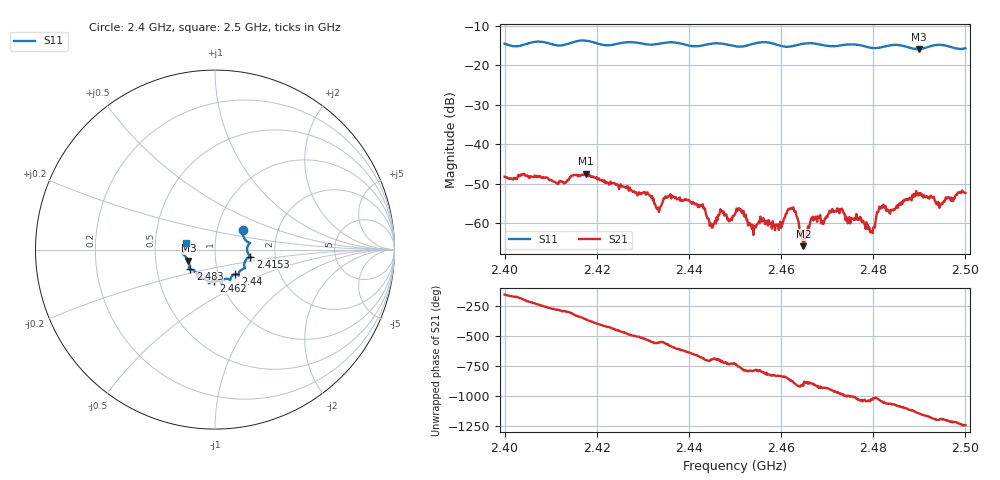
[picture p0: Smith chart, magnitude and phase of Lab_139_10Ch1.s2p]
# Hz S RI R 50
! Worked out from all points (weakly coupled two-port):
!   601 points, 2.4 GHz to 2.5 GHz, reference 50 ohm
!   highest |S21| = -47.38 dB at 2.4177 GHz (marker M1); lowest = -65.8 dB at 2.4648 GHz (marker M2)
!   lowest |S11| = -15.9 dB at 2.4898 GHz (marker M3), VSWR 1.38, Z = 36.8 - j4.62 ohm
!   |S11| at or under -10 dB: start of sweep to end of sweep
!   S12 and S22 are empty: the file has one direction only
!   S11 on the Smith chart (normalised r, x): 2.4 GHz: 1.33, +0.29; 2.4153 GHz: 1.48, -0.12; 2.44 GHz: 1.20, -0.34; 2.462 GHz: 0.93, -0.33; 2.483 GHz: 0.74, -0.17; 2.5 GHz: 0.72, +0.06
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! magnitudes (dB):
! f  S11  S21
! 2.4 GHz  -14.5  -48.2
! 2.4153 GHz  -14.0  -47.8
! 2.4167 GHz  -13.7  -47.8
! 2.4177 GHz  -13.8  -47.4
! 2.4308 GHz  -14.7  -52.3
! 2.4333 GHz  -14.6  -56.0
! 2.4355 GHz  -14.2  -53.1
! 2.44 GHz  -15.0  -54.1
! 2.445 GHz  -14.5  -61.1
! 2.45 GHz  -15.1  -57.6
! 2.4592 GHz  -14.8  -60.3
! 2.462 GHz  -15.2  -56.4
! 2.4648 GHz  -14.5  -65.8
! 2.4667 GHz  -14.4  -58.8
! 2.4727 GHz  -15.0  -57.4
! 2.4795 GHz  -15.5  -62.2
! 2.4813 GHz  -15.5  -55.7
! 2.483 GHz  -15.1  -56.4
! 2.4833 GHz  -15.0  -56.6
! 2.4898 GHz  -15.9  -52.9
! 2.4945 GHz  -14.8  -55.5
! 2.5 GHz  -15.7  -52.3
